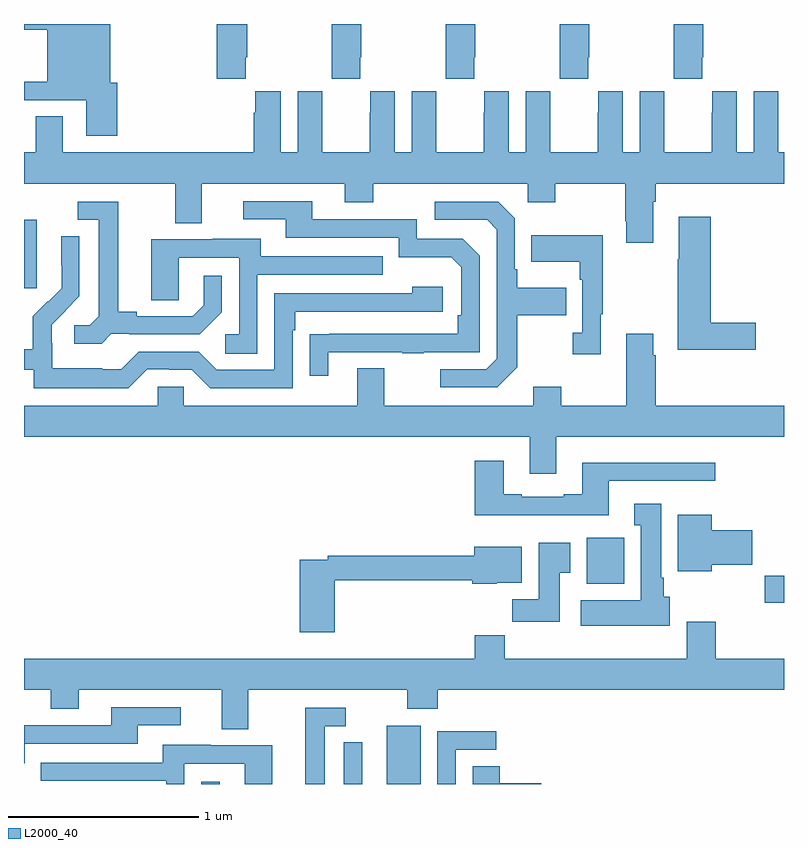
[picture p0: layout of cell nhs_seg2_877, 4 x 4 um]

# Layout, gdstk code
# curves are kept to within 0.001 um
import gdstk
lib = gdstk.Library(unit=1e-6, precision=1e-09)
def R(c, l, rs):  # rectangles x0, y0, x1, y1
    for r in rs: c.add(gdstk.rectangle(r[:2], r[2:], *l))
def P(c, l, *ps):  # polygons
    for p in ps: c.add(gdstk.Polygon(p, *l))
L2000_40 = (2000, 40)

nhs_seg2_877 = lib.new_cell('nhs_seg2_877')
R(nhs_seg2_877, L2000_40, [(155.934,653.8,156.031,653.812), (156.908,653.8,157.087,654.106), (158.898,654.754,159,654.896), (157.961,654.854,158.158,655.096), (155,656.409,155.068,656.77)])
P(nhs_seg2_877, L2000_40, [(158.571,657.625),(158.574,657.625),(158.574,657.8),(158.419,657.8),(158.419,657.625),(158.421,657.625),(158.421,657.513),(158.571,657.513)],
  [(157.971,657.625),(157.974,657.625),(157.974,657.8),(157.819,657.8),(157.819,657.625),(157.821,657.625),(157.821,657.513),(157.971,657.513)],
  [(155.492,657.492),(155.455,657.492),(155.455,657.8),(155,657.8),(155,657.77),(155.123,657.77),(155.123,657.496),(155,657.496),(155,657.399),(155.327,657.399),(155.327,657.213),(155.492,657.213)],
  [(157.371,657.625),(157.374,657.625),(157.374,657.8),(157.219,657.8),(157.219,657.625),(157.221,657.625),(157.221,657.513),(157.371,657.513)],
  [(156.771,657.625),(156.774,657.625),(156.774,657.8),(156.619,657.8),(156.619,657.625),(156.621,657.625),(156.621,657.513),(156.771,657.513)],
  [(156.167,657.625),(156.174,657.625),(156.174,657.8),(156.014,657.8),(156.014,657.513),(156.167,657.513)],
  [(158.311,656.864),(158.324,656.864),(158.324,656.96),(159,656.96),(159,657.124),(158.971,657.124),(158.971,657.332),(158.97,657.332),(158.97,657.445),(158.84,657.445),(158.84,657.124),(158.752,657.124),(158.752,657.445),(158.622,657.445),(158.622,657.332),(158.621,657.332),(158.621,657.124),(158.371,657.124),(158.371,657.332),(158.37,657.332),(158.37,657.445),(158.24,657.445),(158.24,657.124),(158.152,657.124),(158.152,657.445),(158.022,657.445),(158.022,657.332),(158.021,657.332),(158.021,657.124),(157.771,657.124),(157.771,657.332),(157.77,657.332),(157.77,657.445),(157.64,657.445),(157.64,657.124),(157.552,657.124),(157.552,657.445),(157.422,657.445),(157.422,657.332),(157.421,657.332),(157.421,657.124),(157.171,657.124),(157.171,657.332),(157.17,657.332),(157.17,657.445),(157.04,657.445),(157.04,657.124),(156.952,657.124),(156.952,657.445),(156.822,657.445),(156.822,657.332),(156.821,657.332),(156.821,657.124),(156.571,657.124),(156.571,657.332),(156.57,657.332),(156.57,657.445),(156.44,657.445),(156.44,657.124),(156.352,657.124),(156.352,657.445),(156.218,657.445),(156.218,657.332),(156.209,657.332),(156.209,657.124),(155.203,657.124),(155.203,657.314),(155.063,657.314),(155.063,657.124),(155,657.124),(155,656.96),(155.795,656.96),(155.795,656.752),(155.935,656.752),(155.935,656.96),(156.689,656.96),(156.689,656.861),(156.837,656.861),(156.837,656.96),(157.65,656.96),(157.65,656.861),(157.797,656.861),(157.797,656.96),(158.164,656.96),(158.164,656.761),(158.171,656.761),(158.171,656.649),(158.311,656.649)],
  [(156.601,656.073),(156.991,656.073),(156.991,656.068),(157.103,656.068),(157.103,656.073),(157.398,656.073),(157.398,656.58),(157.308,656.67),(157.068,656.67),(157.068,656.772),(156.517,656.772),(156.517,656.868),(156.153,656.868),(156.153,656.772),(156.377,656.772),(156.377,656.676),(156.972,656.676),(156.972,656.573),(157.249,656.573),(157.302,656.52),(157.302,656.266),(157.282,656.266),(157.282,656.169),(156.505,656.168),(156.505,655.95),(156.601,655.95)],
  [(157.597,655.993),(157.597,656.266),(157.853,656.266),(157.853,656.413),(157.597,656.413),(157.597,656.509),(157.584,656.509),(157.584,656.778),(157.497,656.865),(157.161,656.865),(157.161,656.769),(157.437,656.769),(157.488,656.718),(157.488,656.037),(157.434,655.983),(157.191,655.983),(157.191,655.887),(157.491,655.887)],
  [(155.46,656.169),(155.554,656.169),(155.554,656.166),(155.926,656.166),(156.042,656.282),(156.042,656.476),(155.945,656.476),(155.945,656.319),(155.888,656.262),(155.593,656.262),(155.593,656.285),(155.497,656.285),(155.497,656.865),(155.283,656.865),(155.283,656.769),(155.393,656.769),(155.393,656.261),(155.346,656.214),(155.265,656.214),(155.265,656.117),(155.408,656.117)],
  [(158.851,656.228),(158.615,656.228),(158.615,656.785),(158.447,656.785),(158.447,656.561),(158.44,656.561),(158.44,656.086),(158.851,656.086)],
  [(158.035,656.273),(158.047,656.273),(158.047,656.689),(157.669,656.689),(157.669,656.549),(157.926,656.549),(157.926,656.453),(157.938,656.453),(157.938,656.174),(157.887,656.174),(157.887,656.061),(158.035,656.061)],
  [(155.649,655.983),(155.765,655.983),(155.765,655.98),(155.883,655.98),(155.979,655.884),(156.414,655.884),(156.414,656.189),(156.427,656.189),(156.427,656.286),(157.204,656.286),(157.204,656.416),(157.043,656.416),(157.043,656.382),(156.318,656.382),(156.318,655.98),(156.015,655.98),(155.919,656.076),(155.604,656.076),(155.511,655.983),(155.411,655.983),(155.411,655.987),(155.148,655.987),(155.148,656.121),(155.146,656.121),(155.146,656.218),(155.292,656.366),(155.292,656.684),(155.196,656.684),(155.196,656.53),(155.198,656.53),(155.198,656.408),(155.127,656.337),(155.124,656.34),(155.047,656.263),(155.047,656.089),(155,656.089),(155,655.98),(155.052,655.98),(155.052,655.883),(155.549,655.883)],
  [(156.228,656.481),(156.887,656.481),(156.887,656.577),(156.247,656.577),(156.247,656.671),(155.993,656.671),(155.993,656.667),(155.669,656.667),(155.669,656.347),(155.814,656.347),(155.814,656.571),(156.132,656.571),(156.132,656.166),(156.06,656.166),(156.06,656.065),(156.228,656.065)],
  [(157.801,655.628),(159,655.628),(159,655.792),(158.324,655.792),(158.324,656.057),(158.311,656.057),(158.311,656.17),(158.171,656.17),(158.171,655.792),(157.827,655.792),(157.827,655.891),(157.679,655.891),(157.679,655.792),(156.895,655.792),(156.895,655.987),(156.755,655.987),(156.755,655.792),(155.841,655.792),(155.841,655.89),(155.703,655.89),(155.703,655.792),(155,655.792),(155,655.628),(157.661,655.628),(157.661,655.434),(157.801,655.434)],
  [(158.077,655.395),(158.638,655.395),(158.638,655.492),(157.937,655.492),(157.937,655.324),(157.841,655.324),(157.841,655.311),(157.621,655.311),(157.621,655.324),(157.525,655.324),(157.525,655.501),(157.373,655.501),(157.373,655.214),(158.077,655.214)],
  [(158.398,654.786),(158.368,654.786),(158.368,654.886),(158.353,654.886),(158.353,655.276),(158.213,655.276),(158.213,655.163),(158.246,655.163),(158.246,654.766),(157.929,654.766),(157.929,654.632),(158.398,654.632)],
  [(158.62,654.953),(158.833,654.953),(158.833,655.136),(158.62,655.136),(158.62,655.216),(158.441,655.216),(158.441,654.92),(158.62,654.92)],
  [(157.819,654.913),(157.876,654.913),(157.876,655.069),(157.709,655.069),(157.709,654.772),(157.57,654.772),(157.57,654.654),(157.819,654.654)],
  [(156.635,654.873),(157.358,654.873),(157.358,654.854),(157.488,654.854),(157.488,654.86),(157.621,654.86),(157.621,655.048),(157.37,655.048),(157.37,655.001),(156.598,655.001),(156.598,654.981),(156.452,654.981),(156.452,654.6),(156.635,654.6)],
  [(156.181,654.296),(157.018,654.296),(157.018,654.197),(157.178,654.197),(157.178,654.296),(159,654.296),(159,654.46),(158.642,654.46),(158.642,654.655),(158.489,654.655),(158.489,654.46),(157.529,654.46),(157.529,654.584),(157.373,654.584),(157.373,654.46),(155,654.46),(155,654.296),(155.14,654.296),(155.14,654.197),(155.287,654.197),(155.287,654.296),(156.041,654.296),(156.041,654.088),(156.181,654.088)],
  [(155.004,654.012),(155.599,654.012),(155.599,654.108),(155.824,654.108),(155.824,654.204),(155.459,654.204),(155.459,654.108),(155,654.108),(155,653.909),(155.004,653.909)],
  [(156.583,654.105),(156.694,654.105),(156.694,654.201),(156.479,654.201),(156.479,653.8),(156.583,653.8)],
  [(157.272,653.979),(157.486,653.979),(157.486,654.078),(157.176,654.078),(157.176,653.8),(157.272,653.8)],
  [(156.779,653.866),(156.78,653.866),(156.78,654.02),(156.684,654.02),(156.684,653.8),(156.779,653.8)],
  [(155.844,653.907),(156.162,653.907),(156.162,653.8),(156.307,653.8),(156.307,654.003),(155.983,654.003),(155.983,654.007),(155.729,654.007),(155.729,653.913),(155.089,653.913),(155.089,653.817),(155.748,653.817),(155.748,653.8),(155.844,653.8)],
  [(157.723,653.804),(157.505,653.804),(157.505,653.894),(157.361,653.894),(157.361,653.8),(157.723,653.8)])

lib.write_gds('nhs_seg2_877.gds')
